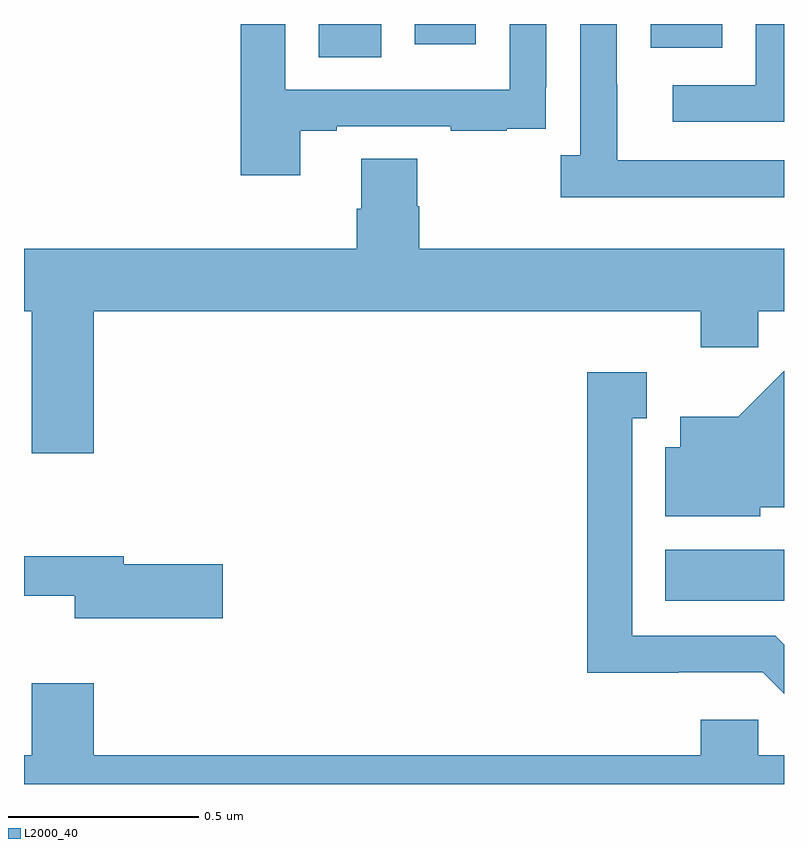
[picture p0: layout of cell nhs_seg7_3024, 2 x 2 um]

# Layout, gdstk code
import gdstk
lib = gdstk.Library(unit=1e-6, precision=1e-09)
def R(c, l, rs):  # rectangles x0, y0, x1, y1
    for r in rs: c.add(gdstk.rectangle(r[:2], r[2:], *l))
def P(c, l, *ps):  # polygons
    for p in ps: c.add(gdstk.Polygon(p, *l))
L2000_40 = (2000, 40)

nhs_seg7_3024 = lib.new_cell('nhs_seg7_3024')
R(nhs_seg7_3024, L2000_40, [(154.688,1038.482,155,1038.616), (153.776,1039.912,153.94,1040), (154.649,1039.937,154.837,1040), (154.028,1039.947,154.189,1040)])
P(nhs_seg7_3024, L2000_40, [(155,1040),(154.926,1040),(154.926,1039.839),(154.707,1039.839),(154.707,1039.743),(155,1039.743)],
  [(153.727,1039.719),(153.823,1039.719),(153.823,1039.731),(154.123,1039.731),(154.123,1039.719),(154.271,1039.719),(154.271,1039.725),(154.373,1039.725),(154.373,1039.834),(154.374,1039.834),(154.374,1040),(154.278,1040),(154.278,1039.827),(153.687,1039.827),(153.687,1040),(153.571,1040),(153.571,1039.602),(153.727,1039.602)],
  [(155,1039.641),(154.561,1039.641),(154.561,1039.841),(154.56,1039.841),(154.56,1040),(154.464,1040),(154.464,1039.654),(154.413,1039.654),(154.413,1039.544),(155,1039.544)],
  [(153.184,1039.244),(154.781,1039.244),(154.781,1039.149),(154.932,1039.149),(154.932,1039.244),(155,1039.244),(155,1039.408),(154.04,1039.408),(154.04,1039.521),(154.035,1039.521),(154.035,1039.646),(153.887,1039.646),(153.887,1039.514),(153.875,1039.514),(153.875,1039.408),(153,1039.408),(153,1039.244),(153.02,1039.244),(153.02,1038.87),(153.184,1038.87)],
  [(154.938,1038.728),(155,1038.728),(155,1039.087),(154.982,1039.069),(154.879,1038.967),(154.727,1038.967),(154.727,1038.886),(154.688,1038.886),(154.688,1038.704),(154.938,1038.704)],
  [(155,1038.367),(154.977,1038.39),(154.6,1038.39),(154.6,1038.963),(154.639,1038.963),(154.639,1039.084),(154.482,1039.084),(154.482,1038.293),(154.722,1038.293),(154.722,1038.294),(154.944,1038.294),(155,1038.238)],
  [(153.523,1038.578),(153.262,1038.578),(153.262,1038.599),(153,1038.599),(153,1038.496),(153.134,1038.496),(153.134,1038.436),(153.523,1038.436)],
  [(155,1038.076),(154.932,1038.076),(154.932,1038.169),(154.781,1038.169),(154.781,1038.076),(153.184,1038.076),(153.184,1038.265),(153.02,1038.265),(153.02,1038.076),(153,1038.076),(153,1038),(155,1038)])

lib.write_gds('nhs_seg7_3024.gds')
